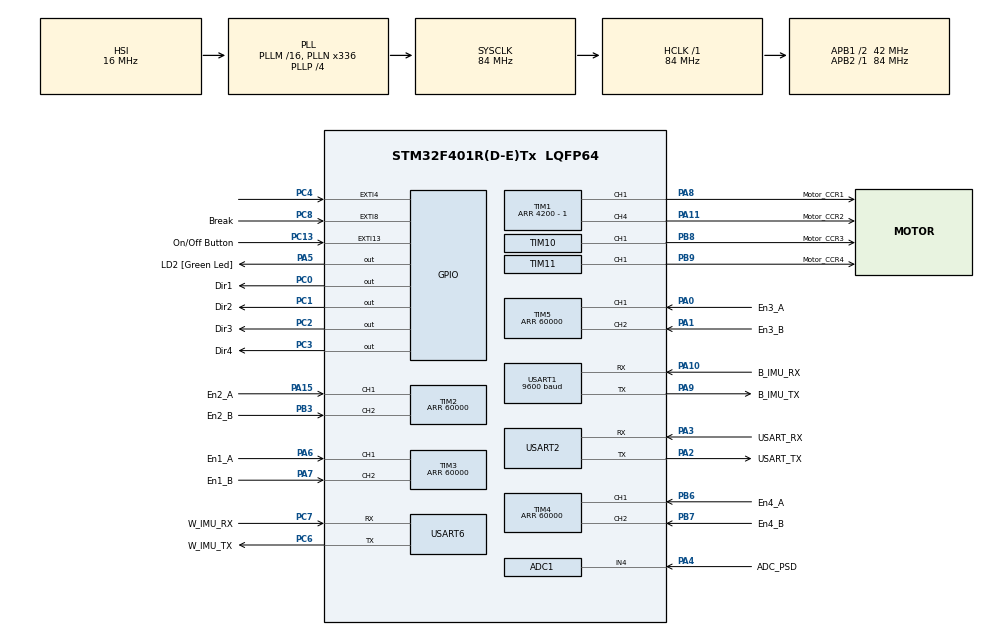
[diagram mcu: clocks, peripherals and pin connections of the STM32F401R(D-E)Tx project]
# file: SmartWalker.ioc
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ADC1.Channel-0\#ChannelRegularConversion=ADC_CHANNEL_4
ADC1.ClockPrescaler=ADC_CLOCK_SYNC_PCLK_DIV4
ADC1.ContinuousConvMode=ENABLE
ADC1.DMAContinuousRequests=DISABLE
ADC1.DataAlign=ADC_DATAALIGN_RIGHT
ADC1.DiscontinuousConvMode=DISABLE
ADC1.EOCSelection=ADC_EOC_SINGLE_CONV
ADC1.EnableAnalogWatchDog=false
ADC1.ExternalTrigConv=ADC_SOFTWARE_START
ADC1.ExternalTrigConvEdge=ADC_EXTERNALTRIGCONVEDGE_NONE
ADC1.InjNumberOfConversion=0
ADC1.NbrOfConversion=1
ADC1.NbrOfConversionFlag=1
ADC1.Rank-0\#ChannelRegularConversion=1
ADC1.Resolution=ADC_RESOLUTION_10B
ADC1.SamplingTime-0\#ChannelRegularConversion=ADC_SAMPLETIME_84CYCLES
ADC1.ScanConvMode=DISABLE
ADC1.master=1
Dma.Request0=USART6_RX
Dma.Request1=USART1_RX
Dma.Request2=USART2_RX
Dma.USART1_RX.1.Direction=DMA_PERIPH_TO_MEMORY
Dma.USART1_RX.1.FIFOMode=DMA_FIFOMODE_DISABLE
Dma.USART1_RX.1.Instance=DMA2_Stream2
Dma.USART1_RX.1.MemDataAlignment=DMA_MDATAALIGN_BYTE
Dma.USART1_RX.1.MemInc=DMA_MINC_ENABLE
Dma.USART1_RX.1.Mode=DMA_NORMAL
Dma.USART1_RX.1.PeriphDataAlignment=DMA_PDATAALIGN_BYTE
Dma.USART1_RX.1.PeriphInc=DMA_PINC_DISABLE
Dma.USART1_RX.1.Priority=DMA_PRIORITY_LOW
Dma.USART2_RX.2.Direction=DMA_PERIPH_TO_MEMORY
Dma.USART2_RX.2.FIFOMode=DMA_FIFOMODE_DISABLE
Dma.USART2_RX.2.Instance=DMA1_Stream5
Dma.USART2_RX.2.MemDataAlignment=DMA_MDATAALIGN_BYTE
Dma.USART2_RX.2.MemInc=DMA_MINC_ENABLE
Dma.USART2_RX.2.Mode=DMA_CIRCULAR
Dma.USART2_RX.2.PeriphDataAlignment=DMA_PDATAALIGN_BYTE
Dma.USART2_RX.2.PeriphInc=DMA_PINC_DISABLE
Dma.USART2_RX.2.Priority=DMA_PRIORITY_LOW
Dma.USART6_RX.0.Direction=DMA_PERIPH_TO_MEMORY
Dma.USART6_RX.0.FIFOMode=DMA_FIFOMODE_DISABLE
Dma.USART6_RX.0.Instance=DMA2_Stream1
Dma.USART6_RX.0.MemDataAlignment=DMA_MDATAALIGN_BYTE
Dma.USART6_RX.0.MemInc=DMA_MINC_ENABLE
Dma.USART6_RX.0.Mode=DMA_NORMAL
Dma.USART6_RX.0.PeriphDataAlignment=DMA_PDATAALIGN_BYTE
Dma.USART6_RX.0.PeriphInc=DMA_PINC_DISABLE
Dma.USART6_RX.0.Priority=DMA_PRIORITY_LOW
Mcu.Family=STM32F4
Mcu.Name=STM32F401R(D-E)Tx
Mcu.Package=LQFP64
NVIC.ADC_IRQn=true\:0\:0\:false\:false\:true\:true
NVIC.DMA1_Stream5_IRQn=true\:0\:0\:false\:false\:true\:false
NVIC.DMA2_Stream1_IRQn=true\:0\:0\:false\:false\:true\:false
NVIC.DMA2_Stream2_IRQn=true\:0\:0\:false\:false\:true\:false
NVIC.EXTI15_10_IRQn=true\:0\:0\:true\:false\:true\:true
NVIC.EXTI9_5_IRQn=true\:1\:0\:true\:false\:true\:true
NVIC.PriorityGroup=NVIC_PRIORITYGROUP_4
NVIC.TIM1_BRK_TIM9_IRQn=true\:2\:0\:true\:false\:true\:true
NVIC.USART1_IRQn=true\:0\:0\:false\:false\:true\:true
NVIC.USART2_IRQn=true\:0\:0\:false\:false\:true\:true
NVIC.USART6_IRQn=true\:0\:0\:false\:false\:true\:true
PA0-WKUP.GPIO_Label=En3_A
PA0-WKUP.Signal=S_TIM5_CH1
PA1.GPIO_Label=En3_B
PA1.Signal=S_TIM5_CH2
PA10.GPIO_Label=B_IMU_RX
PA10.Mode=Asynchronous
PA10.Signal=USART1_RX
PA11.GPIO_Label=Motor_CCR2
PA11.Signal=S_TIM1_CH4
PA13.GPIO_Label=TMS
PA13.Mode=Serial_Wire
PA13.Signal=SYS_JTMS-SWDIO
PA14.GPIO_Label=TCK
PA14.Mode=Serial_Wire
PA14.Signal=SYS_JTCK-SWCLK
PA15.GPIO_Label=En2_A
PA15.Signal=S_TIM2_CH1_ETR
PA2.GPIO_Label=USART_TX
PA2.GPIO_Mode=GPIO_MODE_AF_PP
PA2.GPIO_PuPd=GPIO_NOPULL
PA2.GPIO_Speed=GPIO_SPEED_FREQ_LOW
PA2.Mode=Asynchronous
PA2.Signal=USART2_TX
PA3.GPIO_Label=USART_RX
PA3.GPIO_Mode=GPIO_MODE_AF_PP
PA3.GPIO_PuPd=GPIO_NOPULL
PA3.GPIO_Speed=GPIO_SPEED_FREQ_LOW
PA3.Mode=Asynchronous
PA3.Signal=USART2_RX
PA4.GPIO_Label=ADC_PSD
PA4.Signal=ADCx_IN4
PA5.GPIO_Label=LD2 [Green Led]
PA5.GPIO_Mode=GPIO_MODE_OUTPUT_PP
PA5.GPIO_PuPd=GPIO_NOPULL
PA5.GPIO_Speed=GPIO_SPEED_FREQ_LOW
PA5.Signal=GPIO_Output
PA6.GPIO_Label=En1_A
PA6.Signal=S_TIM3_CH1
PA7.GPIO_Label=En1_B
PA7.Signal=S_TIM3_CH2
PA8.GPIO_Label=Motor_CCR1
PA8.Signal=S_TIM1_CH1
PA9.GPIO_Label=B_IMU_TX
PA9.Mode=Asynchronous
PA9.Signal=USART1_TX
PB3.GPIO_Label=En2_B
PB3.Signal=S_TIM2_CH2
PB6.GPIO_Label=En4_A
PB6.Signal=S_TIM4_CH1
PB7.GPIO_Label=En4_B
PB7.Signal=S_TIM4_CH2
PB8.GPIO_Label=Motor_CCR3
PB8.Signal=S_TIM10_CH1
PB9.GPIO_Label=Motor_CCR4
PB9.Signal=S_TIM11_CH1
PC0.GPIO_Label=Dir1
PC0.Signal=GPIO_Output
PC1.GPIO_Label=Dir2
PC1.Signal=GPIO_Output
PC13-ANTI_TAMP.GPIO_Label=On/Off Button
PC13-ANTI_TAMP.GPIO_ModeDefaultEXTI=GPIO_MODE_IT_RISING_FALLING
PC13-ANTI_TAMP.Signal=GPXTI13
PC14-OSC32_IN.Mode=LSE-External-Oscillator
PC14-OSC32_IN.Signal=RCC_OSC32_IN
PC15-OSC32_OUT.Mode=LSE-External-Oscillator
PC15-OSC32_OUT.Signal=RCC_OSC32_OUT
PC2.GPIO_Label=Dir3
PC2.Signal=GPIO_Output
PC3.GPIO_Label=Dir4
PC3.Signal=GPIO_Output
PC4.GPIO_ModeDefaultEXTI=GPIO_MODE_EVT_RISING_FALLING
PC4.Signal=GPXTI4
PC6.GPIO_Label=W_IMU_TX
PC6.Mode=Asynchronous
PC6.Signal=USART6_TX
PC7.GPIO_Label=W_IMU_RX
PC7.Mode=Asynchronous
PC7.Signal=USART6_RX
PC8.GPIO_Label=Break
PC8.GPIO_ModeDefaultEXTI=GPIO_MODE_IT_RISING
PC8.Signal=GPXTI8
PH0\ -\ OSC_IN.Mode=HSE-External-Clock-Source
PH0\ -\ OSC_IN.Signal=RCC_OSC_IN
PH1\ -\ OSC_OUT.Mode=HSE-External-Clock-Source
PH1\ -\ OSC_OUT.Signal=RCC_OSC_OUT
ProjectManager.HeapSize=0x200
ProjectManager.StackSize=0x400
ProjectManager.TargetToolchain=EWARM
RCC.48MHZClocksFreq_Value=48000000
RCC.AHBFreq_Value=84000000
RCC.APB1CLKDivider=RCC_HCLK_DIV2
RCC.APB1Freq_Value=42000000
RCC.APB1TimFreq_Value=84000000
RCC.APB2Freq_Value=84000000
RCC.APB2TimFreq_Value=84000000
RCC.CortexFreq_Value=84000000
RCC.HCLKFreq_Value=84000000
RCC.HSE_VALUE=8000000
RCC.HSI_VALUE=16000000
RCC.PLLN=336
RCC.PLLP=RCC_PLLP_DIV4
RCC.PLLQ=7
RCC.SYSCLKFreq_VALUE=84000000
RCC.SYSCLKSource=RCC_SYSCLKSOURCE_PLLCLK
RCC.VCOOutputFreq_Value=336000000
SH.ADCx_IN4.0=ADC1_IN4,IN4
SH.S_TIM10_CH1.0=TIM10_CH1,PWM Generation1 CH1
SH.S_TIM11_CH1.0=TIM11_CH1,PWM Generation1 CH1
SH.S_TIM1_CH1.0=TIM1_CH1,PWM Generation1 CH1
SH.S_TIM1_CH4.0=TIM1_CH4,PWM Generation4 CH4
SH.S_TIM2_CH1_ETR.0=TIM2_CH1,Encoder_Interface
SH.S_TIM2_CH2.0=TIM2_CH2,Encoder_Interface
SH.S_TIM3_CH1.0=TIM3_CH1,Encoder_Interface
SH.S_TIM3_CH2.0=TIM3_CH2,Encoder_Interface
SH.S_TIM4_CH1.0=TIM4_CH1,Encoder_Interface
SH.S_TIM4_CH2.0=TIM4_CH2,Encoder_Interface
SH.S_TIM5_CH1.0=TIM5_CH1,Encoder_Interface
SH.S_TIM5_CH2.0=TIM5_CH2,Encoder_Interface
TIM1.Channel-PWM\ Generation1\ CH1=TIM_CHANNEL_1
TIM1.Channel-PWM\ Generation4\ CH4=TIM_CHANNEL_4
TIM1.Period=4200 - 1
TIM1.Pulse-PWM\ Generation1\ CH1=1
TIM1.Pulse-PWM\ Generation4\ CH4=2
TIM10.Channel=TIM_CHANNEL_1
TIM10.Period=4200 - 1
TIM10.Pulse=3
TIM11.Channel=TIM_CHANNEL_1
TIM11.Period=4200 - 1
TIM11.Pulse=4
TIM2.EncoderMode=TIM_ENCODERMODE_TI12
TIM2.Period=60000
TIM3.Period=60000
TIM4.Period=60000
TIM5.Period=60000
TIM9.Period=500 - 1
TIM9.Prescaler=839
USART1.BaudRate=9600
USART1.VirtualMode=VM_ASYNC
USART2.VirtualMode=VM_ASYNC
USART6.VirtualMode=VM_ASYNC
VP_TIM10_VS_ClockSourceINT.Mode=Enable_Timer
VP_TIM11_VS_ClockSourceINT.Mode=Enable_Timer
VP_TIM9_VS_ClockSourceINT.Mode=Internal
board=NUCLEO-F401RE

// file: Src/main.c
/**
  ******************************************************************************
  * @file           : main.c
  * @brief          : Main program body
  ******************************************************************************
  ** This notice applies to any and all portions of this file
  * that are not between comment pairs USER CODE BEGIN and
  * USER CODE END. Other portions of this file, whether
  * inserted by the user or by software development tools
  * are owned by their respective copyright owners.
  *
  * COPYRIGHT(c) 2020 STMicroelectronics
  *
  * Redistribution and use in source and binary forms, with or without modification,
  * are permitted provided that the following conditions are met:
  *   1. Redistributions of source code must retain the above copyright notice,
  *      this list of conditions and the following disclaimer.
  *   2. Redistributions in binary form must reproduce the above copyright notice,
  *      this list of conditions and the following disclaimer in the documentation
  *      and/or other materials provided with the distribution.
  *   3. Neither the name of STMicroelectronics nor the names of its contributors
  *      may be used to endorse or promote products derived from this software
  *      without specific prior written permission.
  *
  * THIS SOFTWARE IS PROVIDED BY THE COPYRIGHT HOLDERS AND CONTRIBUTORS "AS IS"
  * AND ANY EXPRESS OR IMPLIED WARRANTIES, INCLUDING, BUT NOT LIMITED TO, THE
  * IMPLIED WARRANTIES OF MERCHANTABILITY AND FITNESS FOR A PARTICULAR PURPOSE ARE
  * DISCLAIMED. IN NO EVENT SHALL THE COPYRIGHT HOLDER OR CONTRIBUTORS BE LIABLE
  * FOR ANY DIRECT, INDIRECT, INCIDENTAL, SPECIAL, EXEMPLARY, OR CONSEQUENTIAL
  * DAMAGES (INCLUDING, BUT NOT LIMITED TO, PROCUREMENT OF SUBSTITUTE GOODS OR
  * SERVICES; LOSS OF USE, DATA, OR PROFITS; OR BUSINESS INTERRUPTION) HOWEVER
  * CAUSED AND ON ANY THEORY OF LIABILITY, WHETHER IN CONTRACT, STRICT LIABILITY,
  * OR TORT (INCLUDING NEGLIGENCE OR OTHERWISE) ARISING IN ANY WAY OUT OF THE USE
  * OF THIS SOFTWARE, EVEN IF ADVISED OF THE POSSIBILITY OF SUCH DAMAGE.
  *
  ******************************************************************************
  */
#include "main.h"
#include "stm32f4xx_hal.h"

/* USER CODE BEGIN Includes */
#include "math.h"
#include "stdbool.h"
/* USER CODE END Includes */

ADC_HandleTypeDef hadc1;

TIM_HandleTypeDef htim1;
TIM_HandleTypeDef htim2;
TIM_HandleTypeDef htim3;
TIM_HandleTypeDef htim4;
TIM_HandleTypeDef htim5;
TIM_HandleTypeDef htim9;
TIM_HandleTypeDef htim10;
TIM_HandleTypeDef htim11;

UART_HandleTypeDef huart1;
UART_HandleTypeDef huart2;
UART_HandleTypeDef huart6;
DMA_HandleTypeDef hdma_usart1_rx;
DMA_HandleTypeDef hdma_usart2_rx;
DMA_HandleTypeDef hdma_usart6_rx;

/* USER CODE BEGIN PV */
/* Private variables ---------------------------------------------------------*/

#define RX_BUF_SIZE 20

//              IMU              //
uint8_t rx_buf_1[RX_BUF_SIZE];
uint8_t rx_buf_6[RX_BUF_SIZE];
uint8_t tx_buf[1] = "*";
int roll_1, roll_6;
char A_roll_1[10];
char A_roll_6[10];
int cnt_1, cnt_6;

//              Start and Break         //
bool start = 0, break_w = 0;

//              Motor           //
uint16_t Motor_CCR1 = 0, Motor_CCR2 = 0, Motor_CCR3 = 0, Motor_CCR4 = 0;
int32_t en1_cnt, en2_cnt, en3_cnt, en4_cnt, o_en1_cnt, o_en2_cnt, o_en3_cnt, o_en4_cnt;

//      Timer Variables         //
uint16_t cnt1 = 0, cnt2 = 0;

//      PID Control Variable    //
int32_t v1, v2, v3, v4, t_v1 = 250, t_v2 = 250, diff_v1, diff_v2;
double p_13 = 100, i_13 = 0.001 , d_13 = 5;
double p_24 = 100, i_24 = 0.001 , d_24 = 5;
int32_t err_pre1 = 0, err_cur1 = 0, err_sum1 = 0, err_dif1 = 0;
int32_t err_pre2 = 0, err_cur2 = 0, err_sum2 = 0, err_dif2 = 0;

//      PSD(PD) Variable            //
uint16_t adc_value = 0;
uint16_t filtered_adc_value = 0;
double alpha = 0.4;
double voltage;
uint8_t distance;
uint8_t dist = 0;

double PSD_p = 5 , PSD_d = 5;
int32_t err_pre_psd = 0, err_cur_psd = 0, err_dif_psd = 0, PSD_gain = 0;

//      Direction       //
int32_t pulse, degree, err_pre_an = 0, err_cur_an = 0, err_dif_an = 0, An_gain;
double pulse_per_degree = 0.7, AN_p = 4 , AN_d = 4;

//      PC Comunication       //
uint8_t rx_buffer[1];
uint8_t rx_buffer_null[1]=" ";
uint8_t rx_buffer2_a[1]="a";
uint8_t rx_buffer2_b[1]="b";

uint8_t tx_buffer[]="Message Received!\r\n";
uint8_t tx_len = sizeof(tx_buffer)-1;;
int a;

/* USER CODE END PV */

void SystemClock_Config(void);
static void MX_GPIO_Init(void);
static void MX_DMA_Init(void);
static void MX_USART2_UART_Init(void);
static void MX_TIM4_Init(void);
static void MX_TIM9_Init(void);
static void MX_TIM2_Init(void);
static void MX_TIM5_Init(void);
static void MX_USART6_UART_Init(void);
static void MX_TIM3_Init(void);
static void MX_TIM1_Init(void);
static void MX_USART1_UART_Init(void);
static void MX_ADC1_Init(void);
static void MX_TIM10_Init(void);
static void MX_TIM11_Init(void);

void HAL_TIM_MspPostInit(TIM_HandleTypeDef *htim);

/* USER CODE BEGIN PFP */

/* Private function prototypes -----------------------------------------------*/

void get_IMU();
int get_Angle();
int Get_ADC();
void PID_Control();
void Motor_Setup();
void PD_Control(uint8_t dist);
void stop();

/* USER CODE END PFP */

/* USER CODE BEGIN 0 */

//################ Tim 1            : Motor 2,          Tim 10, 11      : Motor
//################ Tim 2, 3, 4, 5   : Encoder
//################ Tim 9            : 5ms
//################ IMU              : Uart1, 6          PC              : Uart2
//################ PSD              : ADC1
//################ DIR              : 1,2 Forward > Reset 3,4 Forward > Set

//#####################TIMER#########################

void HAL_TIM_PeriodElapsedCallback(TIM_HandleTypeDef *htim){
  if(htim == &htim9){ // 5ms 제어주기를 갖는 타이머
    if(start){
      cnt2++;
      PID_Control();
       if(cnt2 == 10){ // 100ms
        dist = Get_ADC();
        PD_Control(dist);
        cnt2 = 0;
      }
    }
    else{
      stop();
    }
  }
}

void stop(){
  Motor_CCR1 = 0;
  Motor_CCR2 = 0;
  Motor_CCR3 = 0;
  Motor_CCR4 = 0;

  TIM1 -> CCR1 = Motor_CCR1;
  HAL_GPIO_WritePin(GPIOC, GPIO_PIN_0, GPIO_PIN_SET);     //Backward

  TIM1 -> CCR4 = Motor_CCR2;
  HAL_GPIO_WritePin(GPIOC, GPIO_PIN_1, GPIO_PIN_RESET);   //Backward

  TIM10 -> CCR1 = Motor_CCR3;
  HAL_GPIO_WritePin(GPIOC, GPIO_PIN_2, GPIO_PIN_SET);     //Backward

  TIM11 -> CCR1 = Motor_CCR4;
  HAL_GPIO_WritePin(GPIOC, GPIO_PIN_3, GPIO_PIN_RESET);   //Backward
}
//#####################EXTI Interrupt#########################

void HAL_GPIO_EXTI_Callback(uint16_t GPIO_Pin){
  if(GPIO_Pin == GPIO_PIN_13){
    //On, Off switch
    start = !start;
  }
}

//##########################IMU##########################
//########################## Body       :       UART1
//########################## Walker     :       UART6

void get_IMU(){
  int num_1 = 1;
  int num_6 = 1;
  HAL_UART_Transmit(&huart1, tx_buf, 1, HAL_MAX_DELAY);
  HAL_UART_Transmit(&huart6, tx_buf, 1, HAL_MAX_DELAY);
  HAL_UART_Receive_DMA(&huart1, rx_buf_1, RX_BUF_SIZE);
  HAL_UART_Receive_DMA(&huart6, rx_buf_6, RX_BUF_SIZE);

  if(rx_buf_1[0] == '*'){
    while(!(rx_buf_1[num_1] == '\n')){
      if(rx_buf_1[num_1] == ','){ cnt_1 ++; }
      else if(cnt_1 == 0){ A_roll_1[num_1 - 1] = (char)rx_buf_1[num_1]; }
      num_1++;
    }
  }

  if(rx_buf_6[0] == '*'){
    while(!(rx_buf_6[num_6] == '\n')){
      if(rx_buf_6[num_6] == ','){ cnt_6 ++; }
      else if(cnt_6 == 0){ A_roll_6[num_6 - 1] = (char)rx_buf_6[num_6]; }
      num_6++;
    }
  }

  roll_1 = atoi(A_roll_1);
  roll_6 = atoi(A_roll_6);
  cnt_1 = 0;
  cnt_6 = 0;
}

int get_Angle(){
  en3_cnt = (TIM2 -> CNT);
  if(en3_cnt > 50000){
    pulse = en3_cnt - 60000;
  }
  else{
    pulse = en3_cnt;
  }
  return pulse *  pulse_per_degree;
}

void Motor_Setup(){
  TIM1 -> CCR1 = Motor_CCR1;
  //HAL_GPIO_WritePin(GPIOC, GPIO_PIN_0, GPIO_PIN_SET);     //Backward
  HAL_GPIO_WritePin(GPIOC, GPIO_PIN_0, GPIO_PIN_RESET);     //Forward

  TIM1 -> CCR4 = Motor_CCR2;
  HAL_GPIO_WritePin(GPIOC, GPIO_PIN_1, GPIO_PIN_SET);       //Forward
  //HAL_GPIO_WritePin(GPIOC, GPIO_PIN_1, GPIO_PIN_RESET);   //Backward

  TIM10 -> CCR1 = Motor_CCR3;
  //HAL_GPIO_WritePin(GPIOC, GPIO_PIN_2, GPIO_PIN_SET);     //Backward
  HAL_GPIO_WritePin(GPIOC, GPIO_PIN_2, GPIO_PIN_RESET);     //Forward

  TIM11 -> CCR1 = Motor_CCR4;
  HAL_GPIO_WritePin(GPIOC, GPIO_PIN_3, GPIO_PIN_SET);       //Forward
  //HAL_GPIO_WritePin(GPIOC, GPIO_PIN_3, GPIO_PIN_RESET);   //Backward

}

void PID_Control(){
  en1_cnt = TIM3 -> CNT;
  en2_cnt = TIM4 -> CNT;

  diff_v1 = en1_cnt - o_en1_cnt;
  diff_v2 = en2_cnt - o_en2_cnt;

  v1 = -(diff_v1 / 0.1) ;
  v2 = (diff_v2 / 0.1) ;

  //err_cur1 = (t_v1) - v1;
  //err_cur2 = (t_v2) - v2;

  err_cur1 = (t_v1 + (double)(PSD_gain/2) - (double)(An_gain) * 0.8) - v1;
  err_cur2 = (t_v2 + (double)(PSD_gain/2) + (double)(An_gain) * 0.8) - v2;

  err_sum1 += err_cur1;
  err_sum2 += err_cur2;

  err_dif1 = err_cur1 - err_pre1;
  err_dif2 = err_cur2 - err_pre2;

  Motor_CCR1 = ((p_13 * err_cur1) + (i_13 * err_sum1) + (d_13 * err_dif1))/10;
  Motor_CCR2 = ((p_24 * err_cur2) + (i_24 * err_sum2) + (d_24 * err_dif2))/10;
  Motor_CCR3 = ((p_13 * err_cur1) + (i_13 * err_sum1) + (d_13 * err_dif1))/10;
  Motor_CCR4 = ((p_24 * err_cur2) + (i_24 * err_sum2) + (d_24 * err_dif2))/10;

  err_pre1 = err_cur1;
  err_pre2 = err_cur2;

  o_en1_cnt = en1_cnt;
  o_en2_cnt = en2_cnt;

  Motor_Setup();
}

//##########################PSD##########################

int Get_ADC() {
  HAL_ADC_Start_IT(&hadc1);
  HAL_ADC_PollForConversion(&hadc1,100);
  adc_value = HAL_ADC_GetValue(&hadc1);

  filtered_adc_value = alpha * adc_value + (1-alpha) * filtered_adc_value;

  voltage = (filtered_adc_value*5.0)/1024 ;

  distance = 55.53 * pow(voltage, -1.405) + 0.5;
  return distance;
}

void PD_Control(uint8_t dist){
   get_IMU();
   degree = get_Angle();

   err_cur_psd = 10 - distance;
   err_dif_psd = err_pre_psd - err_cur_psd;
   PSD_gain = PSD_p * err_cur_psd + PSD_d * err_dif_psd;

   err_cur_an = - degree;
   err_dif_an = err_pre_an - err_cur_an;
   An_gain = AN_p * err_cur_an + AN_d * err_dif_an;

   err_pre_psd = err_cur_psd;
   err_pre_an = err_cur_an;
}

/* USER CODE END 0 */

int main(void)
{

  /* MCU Configuration----------------------------------------------------------*/

  /* Reset of all peripherals, Initializes the Flash interface and the Systick. */
  HAL_Init();

  /* Configure the system clock */
  SystemClock_Config();

  /* Initialize all configured peripherals */
  MX_GPIO_Init();
  MX_DMA_Init();
  MX_USART2_UART_Init();
  MX_TIM4_Init();
  MX_TIM9_Init();
  MX_TIM2_Init();
  MX_TIM5_Init();
  MX_USART6_UART_Init();
  MX_TIM3_Init();
  MX_TIM1_Init();
  MX_USART1_UART_Init();
  MX_ADC1_Init();
  MX_TIM10_Init();
  MX_TIM11_Init();
  /* USER CODE BEGIN 2 */
  HAL_TIM_Base_Start_IT(&htim9);

  HAL_TIM_PWM_Start(&htim1,TIM_CHANNEL_1);
  HAL_TIMEx_PWMN_Start(&htim1,TIM_CHANNEL_1);
  HAL_TIM_PWM_Start(&htim1,TIM_CHANNEL_4);
  HAL_TIMEx_PWMN_Start(&htim1,TIM_CHANNEL_4);
  HAL_TIM_PWM_Start(&htim10,TIM_CHANNEL_1);
  HAL_TIMEx_PWMN_Start(&htim10,TIM_CHANNEL_1);
  HAL_TIM_PWM_Start(&htim11,TIM_CHANNEL_1);
  HAL_TIMEx_PWMN_Start(&htim11,TIM_CHANNEL_1);

  HAL_TIM_Encoder_Start(&htim2,TIM_CHANNEL_ALL);
  HAL_TIM_Encoder_Start(&htim3,TIM_CHANNEL_ALL);
  HAL_TIM_Encoder_Start(&htim4,TIM_CHANNEL_ALL);
  HAL_TIM_Encoder_Start(&htim5,TIM_CHANNEL_ALL);

  HAL_UART_Receive_DMA(&huart2, rx_buffer, 1);
  /* USER CODE END 2 */

  /* Infinite loop */
  /* USER CODE BEGIN WHILE */
  while (1)
  {
    if (a == 10000)
      a=0;
    if( *rx_buffer ==  *rx_buffer2_a){
       HAL_UART_Transmit(&huart2, tx_buffer, tx_len, HAL_MAX_DELAY);
        HAL_GPIO_TogglePin(GPIOA,GPIO_PIN_5);
        a++;
        start = 1;
        *rx_buffer = *rx_buffer_null;
    }
    else if( *rx_buffer ==  *rx_buffer2_b){
       HAL_UART_Transmit(&huart2, tx_buffer, tx_len, HAL_MAX_DELAY);
        HAL_GPIO_TogglePin(GPIOA,GPIO_PIN_5);
        a++;
        start = 0;
        *rx_buffer = *rx_buffer_null;
    }

  /* USER CODE END WHILE */

  }

}

void SystemClock_Config(void)
{

  RCC_OscInitTypeDef RCC_OscInitStruct;
  RCC_ClkInitTypeDef RCC_ClkInitStruct;

    /**Configure the main internal regulator output voltage
    */
  __HAL_RCC_PWR_CLK_ENABLE();

  __HAL_PWR_VOLTAGESCALING_CONFIG(PWR_REGULATOR_VOLTAGE_SCALE2);

    /**Initializes the CPU, AHB and APB busses clocks
    */
  RCC_OscInitStruct.OscillatorType = RCC_OSCILLATORTYPE_HSI;
  RCC_OscInitStruct.HSIState = RCC_HSI_ON;
  RCC_OscInitStruct.HSICalibrationValue = 16;
  RCC_OscInitStruct.PLL.PLLState = RCC_PLL_ON;
  RCC_OscInitStruct.PLL.PLLSource = RCC_PLLSOURCE_HSI;
  RCC_OscInitStruct.PLL.PLLM = 16;
  RCC_OscInitStruct.PLL.PLLN = 336;
  RCC_OscInitStruct.PLL.PLLP = RCC_PLLP_DIV4;
  RCC_OscInitStruct.PLL.PLLQ = 7;
  if (HAL_RCC_OscConfig(&RCC_OscInitStruct) != HAL_OK)
  {
    _Error_Handler(__FILE__, __LINE__);
  }

    /**Initializes the CPU, AHB and APB busses clocks
    */
  RCC_ClkInitStruct.ClockType = RCC_CLOCKTYPE_HCLK|RCC_CLOCKTYPE_SYSCLK
                              |RCC_CLOCKTYPE_PCLK1|RCC_CLOCKTYPE_PCLK2;
  RCC_ClkInitStruct.SYSCLKSource = RCC_SYSCLKSOURCE_PLLCLK;
  RCC_ClkInitStruct.AHBCLKDivider = RCC_SYSCLK_DIV1;
  RCC_ClkInitStruct.APB1CLKDivider = RCC_HCLK_DIV2;
  RCC_ClkInitStruct.APB2CLKDivider = RCC_HCLK_DIV1;

  if (HAL_RCC_ClockConfig(&RCC_ClkInitStruct, FLASH_LATENCY_2) != HAL_OK)
  {
    _Error_Handler(__FILE__, __LINE__);
  }

    /**Configure the Systick interrupt time
    */
  HAL_SYSTICK_Config(HAL_RCC_GetHCLKFreq()/1000);

    /**Configure the Systick
    */
  HAL_SYSTICK_CLKSourceConfig(SYSTICK_CLKSOURCE_HCLK);

  /* SysTick_IRQn interrupt configuration */
  HAL_NVIC_SetPriority(SysTick_IRQn, 0, 0);
}

/* ADC1 init function */
static void MX_ADC1_Init(void)
{

  ADC_ChannelConfTypeDef sConfig;

    /**Configure the global features of the ADC (Clock, Resolution, Data Alignment and number of conversion)
    */
  hadc1.Instance = ADC1;
  hadc1.Init.ClockPrescaler = ADC_CLOCK_SYNC_PCLK_DIV4;
  hadc1.Init.Resolution = ADC_RESOLUTION_10B;
  hadc1.Init.ScanConvMode = DISABLE;
  hadc1.Init.ContinuousConvMode = ENABLE;
  hadc1.Init.DiscontinuousConvMode = DISABLE;
  hadc1.Init.ExternalTrigConvEdge = ADC_EXTERNALTRIGCONVEDGE_NONE;
  hadc1.Init.ExternalTrigConv = ADC_SOFTWARE_START;
  hadc1.Init.DataAlign = ADC_DATAALIGN_RIGHT;
  hadc1.Init.NbrOfConversion = 1;
  hadc1.Init.DMAContinuousRequests = DISABLE;
  hadc1.Init.EOCSelection = ADC_EOC_SINGLE_CONV;
  if (HAL_ADC_Init(&hadc1) != HAL_OK)
  {
    _Error_Handler(__FILE__, __LINE__);
  }

    /**Configure for the selected ADC regular channel its corresponding rank in the sequencer and its sample time.
    */
  sConfig.Channel = ADC_CHANNEL_4;
  sConfig.Rank = 1;
  sConfig.SamplingTime = ADC_SAMPLETIME_84CYCLES;
  if (HAL_ADC_ConfigChannel(&hadc1, &sConfig) != HAL_OK)
  {
    _Error_Handler(__FILE__, __LINE__);
  }

}

/* TIM1 init function */
static void MX_TIM1_Init(void)
{

  TIM_MasterConfigTypeDef sMasterConfig;
  TIM_OC_InitTypeDef sConfigOC;
  TIM_BreakDeadTimeConfigTypeDef sBreakDeadTimeConfig;

  htim1.Instance = TIM1;
  htim1.Init.Prescaler = 0;
  htim1.Init.CounterMode = TIM_COUNTERMODE_UP;
  htim1.Init.Period = 4200 - 1;
  htim1.Init.ClockDivision = TIM_CLOCKDIVISION_DIV1;
  htim1.Init.RepetitionCounter = 0;
  if (HAL_TIM_PWM_Init(&htim1) != HAL_OK)
  {
    _Error_Handler(__FILE__, __LINE__);
  }

  sMasterConfig.MasterOutputTrigger = TIM_TRGO_RESET;
  sMasterConfig.MasterSlaveMode = TIM_MASTERSLAVEMODE_DISABLE;
  if (HAL_TIMEx_MasterConfigSynchronization(&htim1, &sMasterConfig) != HAL_OK)
  {
    _Error_Handler(__FILE__, __LINE__);
  }

  sConfigOC.OCMode = TIM_OCMODE_PWM1;
  sConfigOC.Pulse = 1;
  sConfigOC.OCPolarity = TIM_OCPOLARITY_HIGH;
  sConfigOC.OCNPolarity = TIM_OCNPOLARITY_HIGH;
  sConfigOC.OCFastMode = TIM_OCFAST_DISABLE;
  sConfigOC.OCIdleState = TIM_OCIDLESTATE_RESET;
  sConfigOC.OCNIdleState = TIM_OCNIDLESTATE_RESET;
  if (HAL_TIM_PWM_ConfigChannel(&htim1, &sConfigOC, TIM_CHANNEL_1) != HAL_OK)
  {
    _Error_Handler(__FILE__, __LINE__);
  }

  sConfigOC.Pulse = 2;
  if (HAL_TIM_PWM_ConfigChannel(&htim1, &sConfigOC, TIM_CHANNEL_4) != HAL_OK)
  {
    _Error_Handler(__FILE__, __LINE__);
  }

  sBreakDeadTimeConfig.OffStateRunMode = TIM_OSSR_DISABLE;
  sBreakDeadTimeConfig.OffStateIDLEMode = TIM_OSSI_DISABLE;
  sBreakDeadTimeConfig.LockLevel = TIM_LOCKLEVEL_OFF;
  sBreakDeadTimeConfig.DeadTime = 0;
  sBreakDeadTimeConfig.BreakState = TIM_BREAK_DISABLE;
  sBreakDeadTimeConfig.BreakPolarity = TIM_BREAKPOLARITY_HIGH;
  sBreakDeadTimeConfig.AutomaticOutput = TIM_AUTOMATICOUTPUT_DISABLE;
  if (HAL_TIMEx_ConfigBreakDeadTime(&htim1, &sBreakDeadTimeConfig) != HAL_OK)
  {
    _Error_Handler(__FILE__, __LINE__);
  }

  HAL_TIM_MspPostInit(&htim1);

}

/* TIM2 init function */
static void MX_TIM2_Init(void)
{

  TIM_Encoder_InitTypeDef sConfig;
  TIM_MasterConfigTypeDef sMasterConfig;

  htim2.Instance = TIM2;
  htim2.Init.Prescaler = 0;
  htim2.Init.CounterMode = TIM_COUNTERMODE_UP;
  htim2.Init.Period = 60000;
  htim2.Init.ClockDivision = TIM_CLOCKDIVISION_DIV1;
  sConfig.EncoderMode = TIM_ENCODERMODE_TI12;
  sConfig.IC1Polarity = TIM_ICPOLARITY_RISING;
  sConfig.IC1Selection = TIM_ICSELECTION_DIRECTTI;
  sConfig.IC1Prescaler = TIM_ICPSC_DIV1;
  sConfig.IC1Filter = 0;
  sConfig.IC2Polarity = TIM_ICPOLARITY_RISING;
  sConfig.IC2Selection = TIM_ICSELECTION_DIRECTTI;
  sConfig.IC2Prescaler = TIM_ICPSC_DIV1;
  sConfig.IC2Filter = 0;
  if (HAL_TIM_Encoder_Init(&htim2, &sConfig) != HAL_OK)
  {
    _Error_Handler(__FILE__, __LINE__);
  }

  sMasterConfig.MasterOutputTrigger = TIM_TRGO_RESET;
  sMasterConfig.MasterSlaveMode = TIM_MASTERSLAVEMODE_DISABLE;
  if (HAL_TIMEx_MasterConfigSynchronization(&htim2, &sMasterConfig) != HAL_OK)
  {
    _Error_Handler(__FILE__, __LINE__);
  }

}

/* TIM3 init function */
static void MX_TIM3_Init(void)
{

  TIM_Encoder_InitTypeDef sConfig;
  TIM_MasterConfigTypeDef sMasterConfig;

  htim3.Instance = TIM3;
  htim3.Init.Prescaler = 0;
  htim3.Init.CounterMode = TIM_COUNTERMODE_UP;
  htim3.Init.Period = 60000;
  htim3.Init.ClockDivision = TIM_CLOCKDIVISION_DIV1;
  sConfig.EncoderMode = TIM_ENCODERMODE_TI1;
  sConfig.IC1Polarity = TIM_ICPOLARITY_RISING;
  sConfig.IC1Selection = TIM_ICSELECTION_DIRECTTI;
  sConfig.IC1Prescaler = TIM_ICPSC_DIV1;
  sConfig.IC1Filter = 0;
  sConfig.IC2Polarity = TIM_ICPOLARITY_RISING;
  sConfig.IC2Selection = TIM_ICSELECTION_DIRECTTI;
  sConfig.IC2Prescaler = TIM_ICPSC_DIV1;
  sConfig.IC2Filter = 0;
  if (HAL_TIM_Encoder_Init(&htim3, &sConfig) != HAL_OK)
  {
    _Error_Handler(__FILE__, __LINE__);
  }

  sMasterConfig.MasterOutputTrigger = TIM_TRGO_RESET;
  sMasterConfig.MasterSlaveMode = TIM_MASTERSLAVEMODE_DISABLE;
  if (HAL_TIMEx_MasterConfigSynchronization(&htim3, &sMasterConfig) != HAL_OK)
  {
    _Error_Handler(__FILE__, __LINE__);
  }

}

/* TIM4 init function */
static void MX_TIM4_Init(void)
{

  TIM_Encoder_InitTypeDef sConfig;
  TIM_MasterConfigTypeDef sMasterConfig;

  htim4.Instance = TIM4;
  htim4.Init.Prescaler = 0;
  htim4.Init.CounterMode = TIM_COUNTERMODE_UP;
  htim4.Init.Period = 60000;
  htim4.Init.ClockDivision = TIM_CLOCKDIVISION_DIV1;
  sConfig.EncoderMode = TIM_ENCODERMODE_TI1;
  sConfig.IC1Polarity = TIM_ICPOLARITY_RISING;
  sConfig.IC1Selection = TIM_ICSELECTION_DIRECTTI;
  sConfig.IC1Prescaler = TIM_ICPSC_DIV1;
  sConfig.IC1Filter = 0;
  sConfig.IC2Polarity = TIM_ICPOLARITY_RISING;
  sConfig.IC2Selection = TIM_ICSELECTION_DIRECTTI;
  sConfig.IC2Prescaler = TIM_ICPSC_DIV1;
  sConfig.IC2Filter = 0;
  if (HAL_TIM_Encoder_Init(&htim4, &sConfig) != HAL_OK)
  {
    _Error_Handler(__FILE__, __LINE__);
  }

  sMasterConfig.MasterOutputTrigger = TIM_TRGO_RESET;
  sMasterConfig.MasterSlaveMode = TIM_MASTERSLAVEMODE_DISABLE;
  if (HAL_TIMEx_MasterConfigSynchronization(&htim4, &sMasterConfig) != HAL_OK)
  {
    _Error_Handler(__FILE__, __LINE__);
  }

}

/* TIM5 init function */
static void MX_TIM5_Init(void)
{

  TIM_Encoder_InitTypeDef sConfig;
  TIM_MasterConfigTypeDef sMasterConfig;

  htim5.Instance = TIM5;
  htim5.Init.Prescaler = 0;
  htim5.Init.CounterMode = TIM_COUNTERMODE_UP;
  htim5.Init.Period = 60000;
  htim5.Init.ClockDivision = TIM_CLOCKDIVISION_DIV1;
  sConfig.EncoderMode = TIM_ENCODERMODE_TI1;
  sConfig.IC1Polarity = TIM_ICPOLARITY_RISING;
  sConfig.IC1Selection = TIM_ICSELECTION_DIRECTTI;
  sConfig.IC1Prescaler = TIM_ICPSC_DIV1;
  sConfig.IC1Filter = 0;
  sConfig.IC2Polarity = TIM_ICPOLARITY_RISING;
  sConfig.IC2Selection = TIM_ICSELECTION_DIRECTTI;
  sConfig.IC2Prescaler = TIM_ICPSC_DIV1;
  sConfig.IC2Filter = 0;
  if (HAL_TIM_Encoder_Init(&htim5, &sConfig) != HAL_OK)
  {
    _Error_Handler(__FILE__, __LINE__);
  }

  sMasterConfig.MasterOutputTrigger = TIM_TRGO_RESET;
  sMasterConfig.MasterSlaveMode = TIM_MASTERSLAVEMODE_DISABLE;
  if (HAL_TIMEx_MasterConfigSynchronization(&htim5, &sMasterConfig) != HAL_OK)
  {
    _Error_Handler(__FILE__, __LINE__);
  }

}

/* TIM9 init function */
static void MX_TIM9_Init(void)
{

  TIM_ClockConfigTypeDef sClockSourceConfig;

  htim9.Instance = TIM9;
  htim9.Init.Prescaler = 839;
  htim9.Init.CounterMode = TIM_COUNTERMODE_UP;
  htim9.Init.Period = 500 - 1;
  htim9.Init.ClockDivision = TIM_CLOCKDIVISION_DIV1;
  if (HAL_TIM_Base_Init(&htim9) != HAL_OK)
  {
    _Error_Handler(__FILE__, __LINE__);
  }

  sClockSourceConfig.ClockSource = TIM_CLOCKSOURCE_INTERNAL;
  if (HAL_TIM_ConfigClockSource(&htim9, &sClockSourceConfig) != HAL_OK)
  {
    _Error_Handler(__FILE__, __LINE__);
  }

}

/* TIM10 init function */
static void MX_TIM10_Init(void)
{

  TIM_OC_InitTypeDef sConfigOC;

  htim10.Instance = TIM10;
  htim10.Init.Prescaler = 0;
  htim10.Init.CounterMode = TIM_COUNTERMODE_UP;
  htim10.Init.Period = 4200 - 1;
  htim10.Init.ClockDivision = TIM_CLOCKDIVISION_DIV1;
  if (HAL_TIM_Base_Init(&htim10) != HAL_OK)
  {
    _Error_Handler(__FILE__, __LINE__);
  }

  if (HAL_TIM_PWM_Init(&htim10) != HAL_OK)
  {
    _Error_Handler(__FILE__, __LINE__);
  }

  sConfigOC.OCMode = TIM_OCMODE_PWM1;
  sConfigOC.Pulse = 3;
  sConfigOC.OCPolarity = TIM_OCPOLARITY_HIGH;
  sConfigOC.OCFastMode = TIM_OCFAST_DISABLE;
  if (HAL_TIM_PWM_ConfigChannel(&htim10, &sConfigOC, TIM_CHANNEL_1) != HAL_OK)
  {
    _Error_Handler(__FILE__, __LINE__);
  }

  HAL_TIM_MspPostInit(&htim10);

}

/* TIM11 init function */
static void MX_TIM11_Init(void)
{

  TIM_OC_InitTypeDef sConfigOC;

  htim11.Instance = TIM11;
  htim11.Init.Prescaler = 0;
  htim11.Init.CounterMode = TIM_COUNTERMODE_UP;
  htim11.Init.Period = 4200 - 1;
  htim11.Init.ClockDivision = TIM_CLOCKDIVISION_DIV1;
  if (HAL_TIM_Base_Init(&htim11) != HAL_OK)
  {
    _Error_Handler(__FILE__, __LINE__);
  }

  if (HAL_TIM_PWM_Init(&htim11) != HAL_OK)
  {
    _Error_Handler(__FILE__, __LINE__);
  }

  sConfigOC.OCMode = TIM_OCMODE_PWM1;
  sConfigOC.Pulse = 4;
  sConfigOC.OCPolarity = TIM_OCPOLARITY_HIGH;
  sConfigOC.OCFastMode = TIM_OCFAST_DISABLE;
  if (HAL_TIM_PWM_ConfigChannel(&htim11, &sConfigOC, TIM_CHANNEL_1) != HAL_OK)
  {
    _Error_Handler(__FILE__, __LINE__);
  }

  HAL_TIM_MspPostInit(&htim11);

}

/* USART1 init function */
static void MX_USART1_UART_Init(void)
{

  huart1.Instance = USART1;
  huart1.Init.BaudRate = 9600;
  huart1.Init.WordLength = UART_WORDLENGTH_8B;
  huart1.Init.StopBits = UART_STOPBITS_1;
  huart1.Init.Parity = UART_PARITY_NONE;
  huart1.Init.Mode = UART_MODE_TX_RX;
  huart1.Init.HwFlowCtl = UART_HWCONTROL_NONE;
  huart1.Init.OverSampling = UART_OVERSAMPLING_16;
  if (HAL_UART_Init(&huart1) != HAL_OK)
  {
    _Error_Handler(__FILE__, __LINE__);
  }

}

/* USART2 init function */
static void MX_USART2_UART_Init(void)
{

  huart2.Instance = USART2;
  huart2.Init.BaudRate = 115200;
  huart2.Init.WordLength = UART_WORDLENGTH_8B;
  huart2.Init.StopBits = UART_STOPBITS_1;
  huart2.Init.Parity = UART_PARITY_NONE;
  huart2.Init.Mode = UART_MODE_TX_RX;
  huart2.Init.HwFlowCtl = UART_HWCONTROL_NONE;
  huart2.Init.OverSampling = UART_OVERSAMPLING_16;
  if (HAL_UART_Init(&huart2) != HAL_OK)
  {
    _Error_Handler(__FILE__, __LINE__);
  }

}

/* USART6 init function */
static void MX_USART6_UART_Init(void)
{

  huart6.Instance = USART6;
  huart6.Init.BaudRate = 115200;
  huart6.Init.WordLength = UART_WORDLENGTH_8B;
  huart6.Init.StopBits = UART_STOPBITS_1;
  huart6.Init.Parity = UART_PARITY_NONE;
  huart6.Init.Mode = UART_MODE_TX_RX;
  huart6.Init.HwFlowCtl = UART_HWCONTROL_NONE;
  huart6.Init.OverSampling = UART_OVERSAMPLING_16;
  if (HAL_UART_Init(&huart6) != HAL_OK)
  {
    _Error_Handler(__FILE__, __LINE__);
  }

}

static void MX_DMA_Init(void)
{
  /* DMA controller clock enable */
  __HAL_RCC_DMA2_CLK_ENABLE();
  __HAL_RCC_DMA1_CLK_ENABLE();

  /* DMA interrupt init */
  /* DMA1_Stream5_IRQn interrupt configuration */
  HAL_NVIC_SetPriority(DMA1_Stream5_IRQn, 0, 0);
  HAL_NVIC_EnableIRQ(DMA1_Stream5_IRQn);
  /* DMA2_Stream1_IRQn interrupt configuration */
  HAL_NVIC_SetPriority(DMA2_Stream1_IRQn, 0, 0);
  HAL_NVIC_EnableIRQ(DMA2_Stream1_IRQn);
  /* DMA2_Stream2_IRQn interrupt configuration */
  HAL_NVIC_SetPriority(DMA2_Stream2_IRQn, 0, 0);
  HAL_NVIC_EnableIRQ(DMA2_Stream2_IRQn);

}

/** Configure pins as
        * Analog
        * Input
        * Output
        * EVENT_OUT
        * EXTI
*/
static void MX_GPIO_Init(void)
{

  GPIO_InitTypeDef GPIO_InitStruct;

  /* GPIO Ports Clock Enable */
  __HAL_RCC_GPIOC_CLK_ENABLE();
  __HAL_RCC_GPIOH_CLK_ENABLE();
  __HAL_RCC_GPIOA_CLK_ENABLE();
  __HAL_RCC_GPIOB_CLK_ENABLE();

  /*Configure GPIO pin Output Level */
  HAL_GPIO_WritePin(GPIOC, Dir1_Pin|Dir2_Pin|Dir3_Pin|Dir4_Pin, GPIO_PIN_RESET);

  /*Configure GPIO pin Output Level */
  HAL_GPIO_WritePin(LD2_GPIO_Port, LD2_Pin, GPIO_PIN_RESET);

  /*Configure GPIO pin : On_Off_Button_Pin */
  GPIO_InitStruct.Pin = On_Off_Button_Pin;
  GPIO_InitStruct.Mode = GPIO_MODE_IT_RISING_FALLING;
  GPIO_InitStruct.Pull = GPIO_NOPULL;
  HAL_GPIO_Init(On_Off_Button_GPIO_Port, &GPIO_InitStruct);

  /*Configure GPIO pins : Dir1_Pin Dir2_Pin Dir3_Pin Dir4_Pin */
  GPIO_InitStruct.Pin = Dir1_Pin|Dir2_Pin|Dir3_Pin|Dir4_Pin;
  GPIO_InitStruct.Mode = GPIO_MODE_OUTPUT_PP;
  GPIO_InitStruct.Pull = GPIO_NOPULL;
  GPIO_InitStruct.Speed = GPIO_SPEED_FREQ_LOW;
  HAL_GPIO_Init(GPIOC, &GPIO_InitStruct);

  /*Configure GPIO pin : LD2_Pin */
  GPIO_InitStruct.Pin = LD2_Pin;
  GPIO_InitStruct.Mode = GPIO_MODE_OUTPUT_PP;
  GPIO_InitStruct.Pull = GPIO_NOPULL;
  GPIO_InitStruct.Speed = GPIO_SPEED_FREQ_LOW;
  HAL_GPIO_Init(LD2_GPIO_Port, &GPIO_InitStruct);

  /*Configure GPIO pin : PC4 */
  GPIO_InitStruct.Pin = GPIO_PIN_4;
  GPIO_InitStruct.Mode = GPIO_MODE_EVT_RISING_FALLING;
  GPIO_InitStruct.Pull = GPIO_NOPULL;
  HAL_GPIO_Init(GPIOC, &GPIO_InitStruct);

  /*Configure GPIO pin : Break_Pin */
  GPIO_InitStruct.Pin = Break_Pin;
  GPIO_InitStruct.Mode = GPIO_MODE_IT_RISING;
  GPIO_InitStruct.Pull = GPIO_NOPULL;
  HAL_GPIO_Init(Break_GPIO_Port, &GPIO_InitStruct);

  /* EXTI interrupt init*/
  HAL_NVIC_SetPriority(EXTI9_5_IRQn, 1, 0);
  HAL_NVIC_EnableIRQ(EXTI9_5_IRQn);

  HAL_NVIC_SetPriority(EXTI15_10_IRQn, 0, 0);
  HAL_NVIC_EnableIRQ(EXTI15_10_IRQn);

}

void _Error_Handler(char *file, int line)
{
  while(1)
  {
  }
}

/************************ (C) COPYRIGHT STMicroelectronics *****END OF FILE****/
